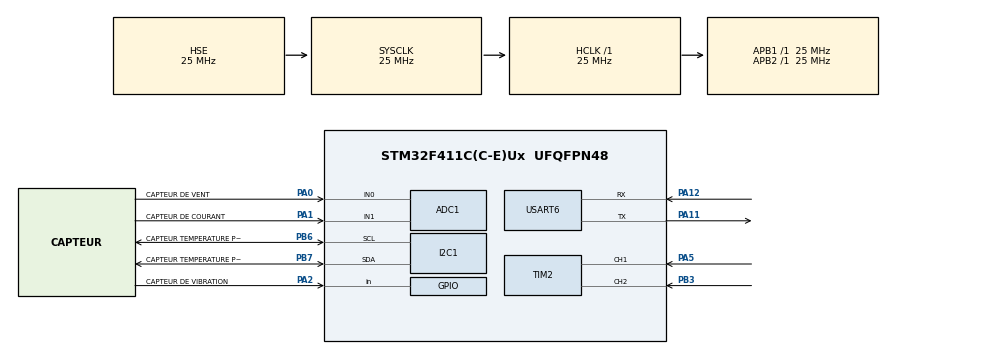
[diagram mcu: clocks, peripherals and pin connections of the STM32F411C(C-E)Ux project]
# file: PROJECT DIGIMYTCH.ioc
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ADC1.Channel-0\#ChannelRegularConversion=ADC_CHANNEL_0
ADC1.Channel-1\#ChannelRegularConversion=ADC_CHANNEL_1
ADC1.Channel-3\#ChannelInjectedConversion=ADC_CHANNEL_0
ADC1.Channel-4\#ChannelInjectedConversion=ADC_CHANNEL_0
ADC1.ContinuousConvMode=ENABLE
ADC1.InjNumberOfConversion=2
ADC1.InjectedOffset-3\#ChannelInjectedConversion=0
ADC1.InjectedOffset-4\#ChannelInjectedConversion=0
ADC1.InjectedRank-3\#ChannelInjectedConversion=1
ADC1.InjectedRank-4\#ChannelInjectedConversion=2
ADC1.NbrOfConversion=2
ADC1.NbrOfConversionFlag=1
ADC1.Rank-0\#ChannelRegularConversion=1
ADC1.Rank-1\#ChannelRegularConversion=2
ADC1.SamplingTime-0\#ChannelRegularConversion=ADC_SAMPLETIME_15CYCLES
ADC1.SamplingTime-1\#ChannelRegularConversion=ADC_SAMPLETIME_15CYCLES
ADC1.SamplingTime-3\#ChannelInjectedConversion=ADC_SAMPLETIME_3CYCLES
ADC1.SamplingTime-4\#ChannelInjectedConversion=ADC_SAMPLETIME_3CYCLES
ADC1.ScanConvMode=ENABLE
ADC1.master=1
Mcu.Family=STM32F4
Mcu.Name=STM32F411C(C-E)Ux
Mcu.Package=UFQFPN48
NVIC.ADC_IRQn=true\:0\:0\:false\:false\:true\:true\:true\:true
NVIC.PriorityGroup=NVIC_PRIORITYGROUP_4
PA0-WKUP.GPIO_Label=CAPTEUR DE VENT
PA0-WKUP.Signal=ADCx_IN0
PA1.GPIO_Label=CAPTEUR DE COURANT
PA1.Signal=ADCx_IN1
PA11.Mode=Asynchronous
PA11.Signal=USART6_TX
PA12.Mode=Asynchronous
PA12.Signal=USART6_RX
PA2.GPIO_Label=CAPTEUR DE VIBRATION
PA2.Signal=GPIO_Input
PA5.Signal=S_TIM2_CH1_ETR
PB3.Signal=S_TIM2_CH2
PB6.GPIO_Label=CAPTEUR TEMPERATURE PRESSION
PB6.Mode=I2C
PB6.Signal=I2C1_SCL
PB7.GPIO_Label=CAPTEUR TEMPERATURE PRESSION '
PB7.Mode=I2C
PB7.Signal=I2C1_SDA
PH0\ -\ OSC_IN.Mode=HSE-External-Oscillator
PH0\ -\ OSC_IN.Signal=RCC_OSC_IN
PH1\ -\ OSC_OUT.Mode=HSE-External-Oscillator
PH1\ -\ OSC_OUT.Signal=RCC_OSC_OUT
ProjectManager.HeapSize=0x200
ProjectManager.StackSize=0x400
ProjectManager.TargetToolchain=STM32CubeIDE
RCC.48MHZClocksFreq_Value=75000000
RCC.AHBFreq_Value=25000000
RCC.APB1Freq_Value=25000000
RCC.APB1TimFreq_Value=25000000
RCC.APB2Freq_Value=25000000
RCC.APB2TimFreq_Value=25000000
RCC.CortexFreq_Value=25000000
RCC.HCLKFreq_Value=25000000
RCC.HSE_VALUE=25000000
RCC.HSI_VALUE=16000000
RCC.LSE_VALUE=32768
RCC.PLLSourceVirtual=RCC_PLLSOURCE_HSE
RCC.SYSCLKFreq_VALUE=25000000
RCC.SYSCLKSource=RCC_SYSCLKSOURCE_HSE
RCC.VCOOutputFreq_Value=300000000
SH.ADCx_IN0.0=ADC1_IN0,IN0
SH.ADCx_IN1.0=ADC1_IN1,IN1
SH.S_TIM2_CH1_ETR.0=TIM2_CH1,Encoder_Interface
SH.S_TIM2_CH2.0=TIM2_CH2,Encoder_Interface
TIM2.EncoderMode=TIM_ENCODERMODE_TI12
TIM2.IC1Polarity=TIM_ICPOLARITY_FALLING
USART6.VirtualMode=VM_ASYNC
board=custom

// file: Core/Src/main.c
/* USER CODE BEGIN Header */
/**
  ******************************************************************************
  * @file           : main.c
  * @brief          : Main program body
  ******************************************************************************
  * @attention
  *
  * Copyright (c) 2024 STMicroelectronics.
  * All rights reserved.
  *
  * This software is licensed under terms that can be found in the LICENSE file
  * in the root directory of this software component.
  * If no LICENSE file comes with this software, it is provided AS-IS.
  *
  ******************************************************************************
  */
/* USER CODE END Header */
#include "main.h"
#include "bmp280.h"
#include "stdio.h"
#include <string.h>  // Ajouter cette ligne

/* USER CODE BEGIN PD */
#define DEBOUNCE_DELAY 50 // 50 ms pour le debounce(pour la vibration)
#define PULSES_PER_REVOLUTION 20 // KY-040 a 20 pas par tour(type d'encodeur)
/* USER CODE END PD */

ADC_HandleTypeDef hadc1;

I2C_HandleTypeDef hi2c1;

TIM_HandleTypeDef htim2;

UART_HandleTypeDef huart6;

BMP280_HandleTypedef bmp280;

void SystemClock_Config(void);
static void MX_GPIO_Init(void);
static void MX_ADC1_Init(void);
static void MX_I2C1_Init(void);
static void MX_TIM2_Init(void);
static void MX_USART6_UART_Init(void);

/* USER CODE BEGIN 0 */
uint8_t __CIPSEND[20]  =  "";
uint8_t RxDataBuffer[40];
uint16_t RxTimeOut = 2;
uint8_t i = 0;
uint32_t previousCounter = 256;
uint8_t UART_DataIsReady = 0;
char CPU_Buffer [256];
char response [50];
char result [50];
char * charater;
char __OK[] = "OK";
char BUFFER_TO_SEND[100];
/* USER CODE END 0 */

uint8_t vitesse_vent;
float courant;
uint8_t vibration =0;
float temperature ;
float pressure ;
float angle;
void ReadADCValues(void);
void ReadAngle(void);
void ReadVibration(void);
void Transmit_Sensor_Data(uint8_t vitesse_vent, float temperature, float pressure, float courant, float angle);
void TransmitVibrationAlert(uint8_t vibration);

int main(void)
{

  /* MCU Configuration--------------------------------------------------------*/

  /* Reset of all peripherals, Initializes the Flash interface and the Systick. */
  HAL_Init();

  /* Configure the system clock */
  SystemClock_Config();

  /* Initialize all configured peripherals */
  MX_GPIO_Init();
  MX_ADC1_Init();
  MX_I2C1_Init();
  MX_TIM2_Init();
  MX_USART6_UART_Init();
  /* USER CODE BEGIN 2 */
  HAL_TIM_Encoder_Start(&htim2, TIM_CHANNEL_ALL);
  bmp280_params_t params;
      bmp280_init_default_params(&params);
      bmp280.i2c = &hi2c1;
      bmp280.addr = BMP280_I2C_ADDRESS_0; // or BMP280_I2C_ADDRESS_1 based on your hardware setup

      // Initialize BMP280
      if (!bmp280_init(&bmp280, &params)) {
          Error_Handler();
      }

  /* USER CODE END 2 */

  /* Infinite loop */
  while (1)
  {

    /* USER CODE BEGIN 3 */

	  ReadADCValues(); // lire les valeurs du vent et du courant
	   //verifier si il y a une vibration
	  ReadAngle();   // /La position et l'orientation des pales des éoliennes
	 bmp280_read_float(&bmp280, &temperature, &pressure, NULL);

	    Transmit_Sensor_Data(vitesse_vent, temperature, pressure, courant,angle);
	    ReadVibration();
	    TransmitVibrationAlert( vibration);
	  HAL_Delay(3000);

  }
  /* USER CODE END 3 */
}

void SystemClock_Config(void)
{
  RCC_OscInitTypeDef RCC_OscInitStruct = {0};
  RCC_ClkInitTypeDef RCC_ClkInitStruct = {0};

  /** Configure the main internal regulator output voltage
  */
  __HAL_RCC_PWR_CLK_ENABLE();
  __HAL_PWR_VOLTAGESCALING_CONFIG(PWR_REGULATOR_VOLTAGE_SCALE1);

  /** Initializes the RCC Oscillators according to the specified parameters
  * in the RCC_OscInitTypeDef structure.
  */
  RCC_OscInitStruct.OscillatorType = RCC_OSCILLATORTYPE_HSE;
  RCC_OscInitStruct.HSEState = RCC_HSE_ON;
  RCC_OscInitStruct.PLL.PLLState = RCC_PLL_NONE;
  if (HAL_RCC_OscConfig(&RCC_OscInitStruct) != HAL_OK)
  {
    Error_Handler();
  }

  /** Initializes the CPU, AHB and APB buses clocks
  */
  RCC_ClkInitStruct.ClockType = RCC_CLOCKTYPE_HCLK|RCC_CLOCKTYPE_SYSCLK
                              |RCC_CLOCKTYPE_PCLK1|RCC_CLOCKTYPE_PCLK2;
  RCC_ClkInitStruct.SYSCLKSource = RCC_SYSCLKSOURCE_HSE;
  RCC_ClkInitStruct.AHBCLKDivider = RCC_SYSCLK_DIV1;
  RCC_ClkInitStruct.APB1CLKDivider = RCC_HCLK_DIV1;
  RCC_ClkInitStruct.APB2CLKDivider = RCC_HCLK_DIV1;

  if (HAL_RCC_ClockConfig(&RCC_ClkInitStruct, FLASH_LATENCY_0) != HAL_OK)
  {
    Error_Handler();
  }
}

static void MX_ADC1_Init(void)
{

  ADC_ChannelConfTypeDef sConfig = {0};
  ADC_InjectionConfTypeDef sConfigInjected = {0};

  /** Configure the global features of the ADC (Clock, Resolution, Data Alignment and number of conversion)
  */
  hadc1.Instance = ADC1;
  hadc1.Init.ClockPrescaler = ADC_CLOCK_SYNC_PCLK_DIV2;
  hadc1.Init.Resolution = ADC_RESOLUTION_12B;
  hadc1.Init.ScanConvMode = ENABLE;
  hadc1.Init.ContinuousConvMode = ENABLE;
  hadc1.Init.DiscontinuousConvMode = DISABLE;
  hadc1.Init.ExternalTrigConvEdge = ADC_EXTERNALTRIGCONVEDGE_NONE;
  hadc1.Init.ExternalTrigConv = ADC_SOFTWARE_START;
  hadc1.Init.DataAlign = ADC_DATAALIGN_RIGHT;
  hadc1.Init.NbrOfConversion = 2;
  hadc1.Init.DMAContinuousRequests = DISABLE;
  hadc1.Init.EOCSelection = ADC_EOC_SINGLE_CONV;
  if (HAL_ADC_Init(&hadc1) != HAL_OK)
  {
    Error_Handler();
  }

  /** Configure for the selected ADC regular channel its corresponding rank in the sequencer and its sample time.
  */
  sConfig.Channel = ADC_CHANNEL_0;
  sConfig.Rank = 1;
  sConfig.SamplingTime = ADC_SAMPLETIME_15CYCLES;
  if (HAL_ADC_ConfigChannel(&hadc1, &sConfig) != HAL_OK)
  {
    Error_Handler();
  }

  /** Configure for the selected ADC regular channel its corresponding rank in the sequencer and its sample time.
  */
  sConfig.Channel = ADC_CHANNEL_1;
  sConfig.Rank = 2;
  if (HAL_ADC_ConfigChannel(&hadc1, &sConfig) != HAL_OK)
  {
    Error_Handler();
  }

  /** Configures for the selected ADC injected channel its corresponding rank in the sequencer and its sample time
  */
  sConfigInjected.InjectedChannel = ADC_CHANNEL_0;
  sConfigInjected.InjectedRank = 1;
  sConfigInjected.InjectedNbrOfConversion = 2;
  sConfigInjected.InjectedSamplingTime = ADC_SAMPLETIME_3CYCLES;
  sConfigInjected.ExternalTrigInjecConvEdge = ADC_EXTERNALTRIGINJECCONVEDGE_NONE;
  sConfigInjected.ExternalTrigInjecConv = ADC_INJECTED_SOFTWARE_START;
  sConfigInjected.AutoInjectedConv = DISABLE;
  sConfigInjected.InjectedDiscontinuousConvMode = DISABLE;
  sConfigInjected.InjectedOffset = 0;
  if (HAL_ADCEx_InjectedConfigChannel(&hadc1, &sConfigInjected) != HAL_OK)
  {
    Error_Handler();
  }

  /** Configures for the selected ADC injected channel its corresponding rank in the sequencer and its sample time
  */
  sConfigInjected.InjectedRank = 2;
  if (HAL_ADCEx_InjectedConfigChannel(&hadc1, &sConfigInjected) != HAL_OK)
  {
    Error_Handler();
  }

}

static void MX_I2C1_Init(void)
{

  hi2c1.Instance = I2C1;
  hi2c1.Init.ClockSpeed = 100000;
  hi2c1.Init.DutyCycle = I2C_DUTYCYCLE_2;
  hi2c1.Init.OwnAddress1 = 0;
  hi2c1.Init.AddressingMode = I2C_ADDRESSINGMODE_7BIT;
  hi2c1.Init.DualAddressMode = I2C_DUALADDRESS_DISABLE;
  hi2c1.Init.OwnAddress2 = 0;
  hi2c1.Init.GeneralCallMode = I2C_GENERALCALL_DISABLE;
  hi2c1.Init.NoStretchMode = I2C_NOSTRETCH_DISABLE;
  if (HAL_I2C_Init(&hi2c1) != HAL_OK)
  {
    Error_Handler();
  }

}

static void MX_TIM2_Init(void)
{

  TIM_Encoder_InitTypeDef sConfig = {0};
  TIM_MasterConfigTypeDef sMasterConfig = {0};

  htim2.Instance = TIM2;
  htim2.Init.Prescaler = 0;
  htim2.Init.CounterMode = TIM_COUNTERMODE_UP;
  htim2.Init.Period = 4294967295;
  htim2.Init.ClockDivision = TIM_CLOCKDIVISION_DIV1;
  htim2.Init.AutoReloadPreload = TIM_AUTORELOAD_PRELOAD_DISABLE;
  sConfig.EncoderMode = TIM_ENCODERMODE_TI12;
  sConfig.IC1Polarity = TIM_ICPOLARITY_FALLING;
  sConfig.IC1Selection = TIM_ICSELECTION_DIRECTTI;
  sConfig.IC1Prescaler = TIM_ICPSC_DIV1;
  sConfig.IC1Filter = 0;
  sConfig.IC2Polarity = TIM_ICPOLARITY_RISING;
  sConfig.IC2Selection = TIM_ICSELECTION_DIRECTTI;
  sConfig.IC2Prescaler = TIM_ICPSC_DIV1;
  sConfig.IC2Filter = 0;
  if (HAL_TIM_Encoder_Init(&htim2, &sConfig) != HAL_OK)
  {
    Error_Handler();
  }
  sMasterConfig.MasterOutputTrigger = TIM_TRGO_RESET;
  sMasterConfig.MasterSlaveMode = TIM_MASTERSLAVEMODE_DISABLE;
  if (HAL_TIMEx_MasterConfigSynchronization(&htim2, &sMasterConfig) != HAL_OK)
  {
    Error_Handler();
  }

}

static void MX_USART6_UART_Init(void)
{

  huart6.Instance = USART6;
  huart6.Init.BaudRate = 115200;
  huart6.Init.WordLength = UART_WORDLENGTH_8B;
  huart6.Init.StopBits = UART_STOPBITS_1;
  huart6.Init.Parity = UART_PARITY_NONE;
  huart6.Init.Mode = UART_MODE_TX_RX;
  huart6.Init.HwFlowCtl = UART_HWCONTROL_NONE;
  huart6.Init.OverSampling = UART_OVERSAMPLING_16;
  if (HAL_UART_Init(&huart6) != HAL_OK)
  {
    Error_Handler();
  }

}

static void MX_GPIO_Init(void)
{
  GPIO_InitTypeDef GPIO_InitStruct = {0};

  /* GPIO Ports Clock Enable */
  __HAL_RCC_GPIOH_CLK_ENABLE();
  __HAL_RCC_GPIOA_CLK_ENABLE();
  __HAL_RCC_GPIOB_CLK_ENABLE();

  /*Configure GPIO pin : CAPTEUR_DE_VIBRATION_Pin */
  GPIO_InitStruct.Pin = CAPTEUR_DE_VIBRATION_Pin;
  GPIO_InitStruct.Mode = GPIO_MODE_INPUT;
  GPIO_InitStruct.Pull = GPIO_NOPULL;
  HAL_GPIO_Init(CAPTEUR_DE_VIBRATION_GPIO_Port, &GPIO_InitStruct);

}

/* USER CODE BEGIN 4 */
void ReadADCValues(void)
{

    HAL_ADC_Start(&hadc1);

    // Attendre la fin de la conversion pour le canal 0
    if (HAL_ADC_PollForConversion(&hadc1, 1000) == HAL_OK)
    {
        // Lire la valeur ADC pour le canal 0 (vitesse du vent)
        vitesse_vent = HAL_ADC_GetValue(&hadc1);
    }

    // Attendre la fin de la conversion pour le canal 1
    if (HAL_ADC_PollForConversion(&hadc1, 1000) == HAL_OK)
    {
        // Lire la valeur ADC pour le canal 1 (courant)
        uint32_t adcValue = HAL_ADC_GetValue(&hadc1);
        float voltage = adcValue * (3.3f / 4096.0f); // Convertir la valeur ADC en tension
        courant = (voltage - 2.5f) / 0.185f; // Convertir la tension en courant (pour ACS712)
    }

    HAL_ADC_Stop(&hadc1);

}
void ReadAngle(void){
    // Lire la position actuelle de l'encodeur
       int32_t encoder_position = __HAL_TIM_GET_COUNTER(&htim2);

       // Calcul de l'angle actuel
     angle = ((float)encoder_position / PULSES_PER_REVOLUTION) * 360.0f;
}

  void ReadVibration(void)
  { static uint32_t lastDebounceTime = 0;
  static uint8_t lastState = 0;
  uint8_t currentState = HAL_GPIO_ReadPin(GPIOA, 2);

  if (currentState != lastState) {
      lastDebounceTime = HAL_GetTick(); // Obtenez le temps actuel
  }

  if ((HAL_GetTick() - lastDebounceTime) > DEBOUNCE_DELAY) {
      // Considérez l'état stable uniquement si le délai de debounce est écoulé
      vibration = currentState;
  }

  lastState = currentState;}
  void Transmit_Sensor_Data(uint8_t vitesse_vent, float temperature, float pressure, float courant, float angle)
  {
      char data_buffer[100];  // Taille du buffer à ajuster selon la quantité de données à transmettre

      // Formater les données sous forme de chaîne de caractères
      snprintf(data_buffer, sizeof(data_buffer), "VALWind:%d,Temp:%.2f,Press:%.2f,Current:%.2f,Angle:%.2f\n",
               vitesse_vent, temperature, pressure, courant, angle);

      // Transmettre les données via UART
      HAL_UART_Transmit(&huart6, (uint8_t*)data_buffer, strlen(data_buffer), HAL_MAX_DELAY);
  }

  void TransmitVibrationAlert(uint8_t vibration) {
      char vibration_buffer[50];  // Taille du buffer à ajuster selon la quantité de données à transmettre

      // Formater le message d'alerte de vibration
      if (vibration == 1) {
          snprintf(vibration_buffer, sizeof(vibration_buffer), "VIB Vibration détectée\n");
      } else {
          snprintf(vibration_buffer, sizeof(vibration_buffer), "VIB Vibration arrêtée\n");
      }

      // Transmettre l'alerte via UART
      HAL_UART_Transmit(&huart6, (uint8_t*)vibration_buffer, strlen(vibration_buffer), HAL_MAX_DELAY);
  }

/* USER CODE END 4 */

void Error_Handler(void)
{
  __disable_irq();
  while (1)
  {
  }
}
